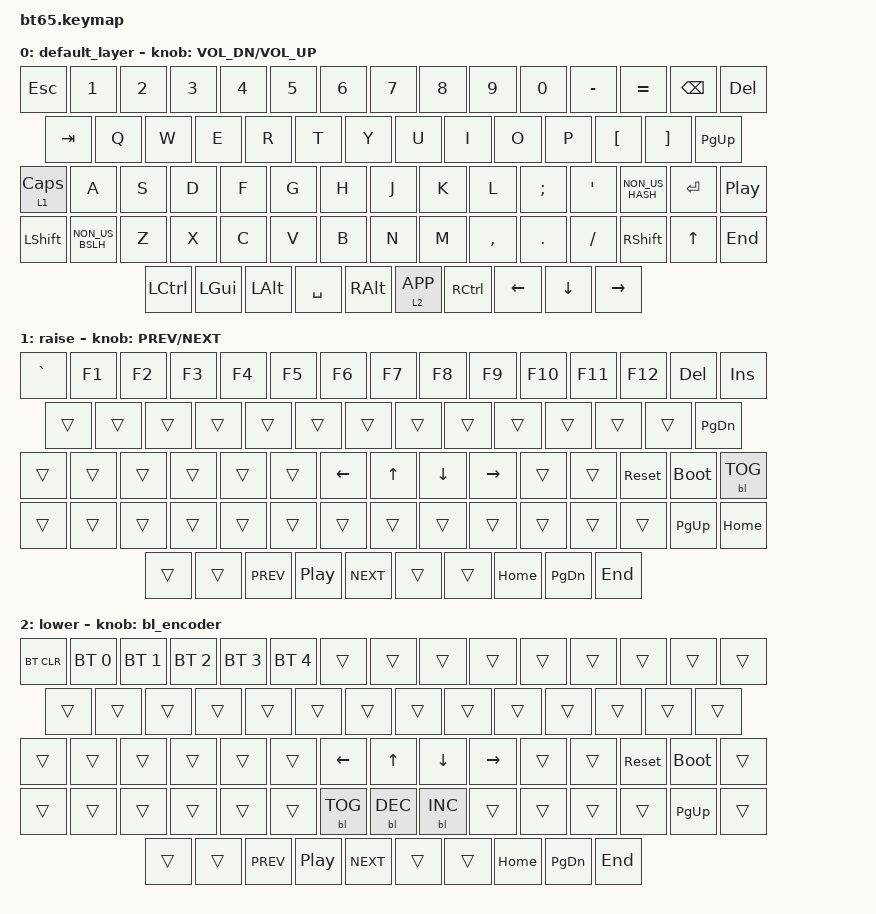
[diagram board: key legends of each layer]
#include <behaviors.dtsi>
#include <dt-bindings/zmk/keys.h>
#include <dt-bindings/zmk/bt.h>
#include <dt-bindings/zmk/rgb.h>
#include <dt-bindings/zmk/backlight.h>
#include <dt-bindings/zmk/ext_power.h>

#define default_layer 0
#define raise 1
#define lower 2

/ {
	behaviors {
        bl_encoder: bl_encoder {
            compatible = "zmk,behavior-sensor-rotate";
            label = "BL_ENCODER";
            #sensor-binding-cells = <0>;
            bindings = <&bl BL_DEC>, <&bl BL_INC>;
        };
    };
	keymap {
		compatible = "zmk,keymap";

		default_layer {
			bindings = <
				
				&kp ESC &kp N1 &kp N2 &kp N3 &kp N4 &kp N5 &kp N6 &kp N7 &kp  N8   &kp  N9   &kp N0 &kp MINUS &kp EQUAL &kp BKSP &kp DEL
				&kp TAB  &kp Q  &kp W  &kp E  &kp R  &kp T  &kp Y  &kp U  &kp  I    &kp  O  &kp  P   &kp LBKT &kp RBKT  	 &kp PG_UP
				&lt 1 CAPS  &kp A  &kp S  &kp D  &kp F  &kp G  &kp H  &kp J  &kp  K    &kp  L  &kp SEMI &kp SQT &kp NON_US_HASH 	&kp RET &kp C_PP
				&kp LSHFT &kp NON_US_BSLH &kp Z  &kp X  &kp C  &kp V  &kp B  &kp N  &kp M  &kp COMMA &kp DOT &kp FSLH   &kp RSHFT &kp UP &kp END
				&kp LCTRL &kp LGUI &kp LALT            &kp SPACE                          &kp RALT  &lt 2 K_APP &kp RCTRL &kp LEFT &kp DOWN &kp RIGHT
			>;
			sensor-bindings = <&inc_dec_kp C_VOL_DN C_VOL_UP>;
		};
		raise {
			bindings = <
				&kp GRAVE &kp F1 &kp F2 &kp F3 &kp F4 &kp F5 &kp F6 &kp F7 &kp  F8   &kp  F9   &kp F10  &kp F11 &kp F12 &kp DEL &kp INS
				&trans &trans &trans &trans &trans &trans &trans &trans &trans &trans &trans &trans &trans  &kp PG_DN
				&trans    &trans &trans &trans &trans &trans &kp LEFT &kp UP &kp DOWN &kp RIGHT &trans  &trans &sys_reset  &bootloader &bl BL_TOG
				&trans &trans &trans &trans &trans &trans &trans &trans &trans &trans &trans &trans &trans &kp PG_UP &kp HOME
				&trans &trans  &kp C_PREV             &kp C_PP                           &kp C_NEXT   &trans   &trans &kp HOME &kp PG_DN &kp END
			>;
			sensor-bindings = <&inc_dec_kp C_PREV C_NEXT>;
		};
		lower {
			bindings = <
				&bt BT_CLR &bt BT_SEL 0 &bt BT_SEL 1 &bt BT_SEL 2 &bt BT_SEL 3 &bt BT_SEL 4 &trans &trans &trans &trans &trans &trans &trans &trans &trans
				&trans &trans &trans &trans &trans &trans &trans &trans &trans &trans &trans &trans &trans  &trans
				&trans    &trans &trans &trans &trans &trans &kp LEFT &kp UP &kp DOWN &kp RIGHT &trans  &trans &sys_reset  &bootloader &trans
				&trans &trans &trans &trans &trans &trans &bl BL_TOG &bl BL_DEC &bl BL_INC &trans &trans &trans &trans &kp PG_UP &trans
				&trans &trans  &kp C_PREV             &kp C_PP                           &kp C_NEXT   &trans   &trans &kp HOME &kp PG_DN &kp END
			>;
			sensor-bindings = <&bl_encoder>;
		};
	};
};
